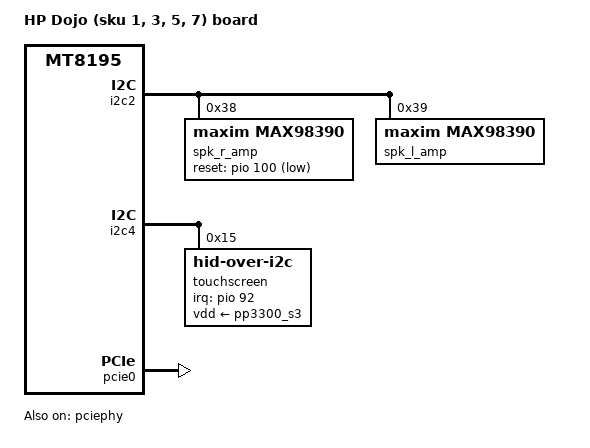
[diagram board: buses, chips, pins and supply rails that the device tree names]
// SPDX-License-Identifier: (GPL-2.0 OR MIT)
/*
 * Copyright (C) 2022 MediaTek Inc.
 */
/dts-v1/;
#include "mt8195-cherry.dtsi"

/ {
	model = "HP Dojo (sku 1, 3, 5, 7) board";
	chassis-type = "convertible";
	compatible = "google,dojo-sku7", "google,dojo-sku5",
		     "google,dojo-sku3", "google,dojo-sku1",
		     "google,dojo", "mediatek,mt8195";
};

&audio_codec {
	compatible = "realtek,rt5682s";
	realtek,amic-delay-ms = <250>;
};

&i2c2 {
	spk_r_amp: amplifier@38 {
		compatible = "maxim,max98390";
		reg = <0x38>;
		reset-gpios = <&pio 100 GPIO_ACTIVE_LOW>;
		sound-name-prefix = "Right";
		#sound-dai-cells = <0>;
	};

	spk_l_amp: amplifier@39 {
		compatible = "maxim,max98390";
		reg = <0x39>;
		sound-name-prefix = "Left";
		#sound-dai-cells = <0>;
	};
};

&i2c4 {
	touchscreen@15 {
		compatible = "hid-over-i2c";
		reg = <0x15>;
		hid-descr-addr = <0x0001>;
		interrupts-extended = <&pio 92 IRQ_TYPE_LEVEL_LOW>;
		pinctrl-names = "default";
		pinctrl-0 = <&touchscreen_pins>;
		post-power-on-delay-ms = <10>;
		vdd-supply = <&pp3300_s3>;
	};
};

&keyboard_controller {
	linux,keymap = <
		CROS_STD_MAIN_KEYMAP

		MATRIX_KEY(0x00, 0x02, KEY_BACK)
		MATRIX_KEY(0x03, 0x02, KEY_REFRESH)
		MATRIX_KEY(0x02, 0x02, KEY_ZOOM)
		MATRIX_KEY(0x01, 0x02, KEY_SCALE)
		MATRIX_KEY(0x03, 0x04, KEY_SYSRQ)
		MATRIX_KEY(0x02, 0x04, KEY_BRIGHTNESSDOWN)
		MATRIX_KEY(0x01, 0x04, KEY_BRIGHTNESSUP)
		MATRIX_KEY(0x02, 0x09, KEY_KBDILLUMTOGGLE)
		MATRIX_KEY(0x01, 0x09, KEY_PLAYPAUSE)
		MATRIX_KEY(0x00, 0x04, KEY_MICMUTE)
		MATRIX_KEY(0x00, 0x01, KEY_MUTE)
		MATRIX_KEY(0x01, 0x05, KEY_VOLUMEDOWN)
		MATRIX_KEY(0x03, 0x05, KEY_VOLUMEUP)
	>;
};

&pcie0 {
	pinctrl-names = "default";
	pinctrl-0 = <&pcie0_pins_default>;
	status = "okay";
};

&pciephy {
	status = "okay";
};

&pio_default {
	pins-low-power-hdmi-disable {
		pinmux = <PINMUX_GPIO31__FUNC_GPIO31>,
			 <PINMUX_GPIO32__FUNC_GPIO32>,
			 <PINMUX_GPIO33__FUNC_GPIO33>;
		input-enable;
		bias-pull-down;
	};

	pins-low-power-hdmi-rsel-disable {
		pinmux = <PINMUX_GPIO34__FUNC_GPIO34>,
			 <PINMUX_GPIO35__FUNC_GPIO35>;
		input-enable;
		bias-pull-down = <75000>;
	};
};

&sound {
	compatible = "mediatek,mt8195_mt6359_max98390_rt5682";
	model = "m8195_m98390_5682s";

	audio-routing =
		"Headphone", "HPOL",
		"Headphone", "HPOR",
		"IN1P", "Headset Mic",
		"Right Spk", "Right BE_OUT",
		"Left Spk", "Left BE_OUT";

	spk-playback-dai-link {
		codec {
			sound-dai = <&spk_r_amp>, <&spk_l_amp>;
		};
	};
};

&spk_amplifier {
	/* Disable RT1019P, not present on Dojo */
	status = "disabled";
};
